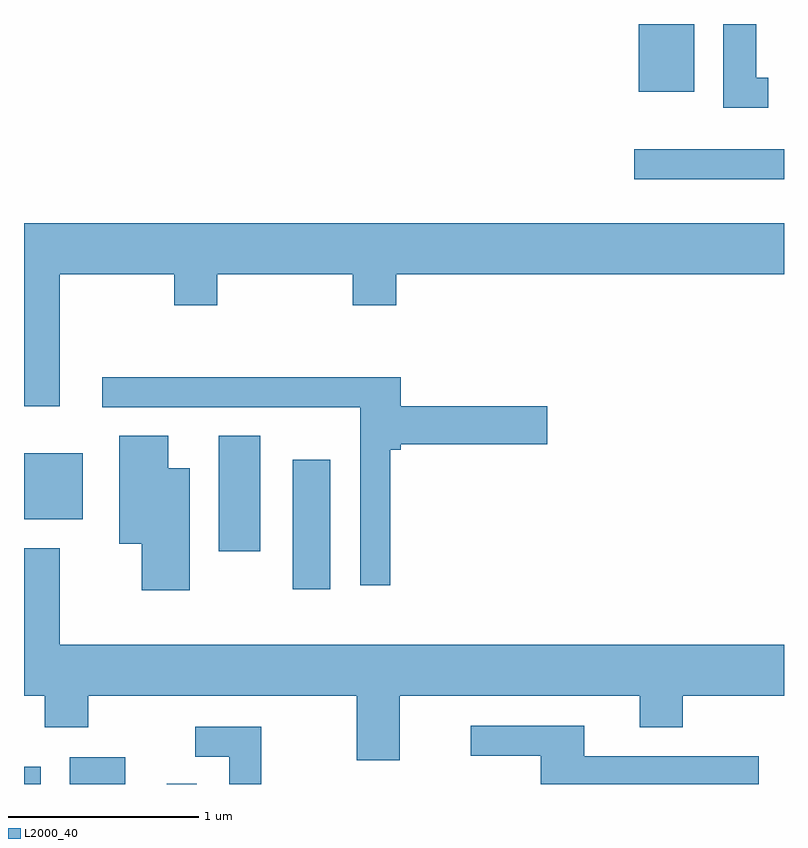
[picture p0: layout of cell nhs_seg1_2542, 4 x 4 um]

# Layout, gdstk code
import gdstk
lib = gdstk.Library(unit=1e-6, precision=1e-09)
def R(c, l, rs):  # rectangles x0, y0, x1, y1
    for r in rs: c.add(gdstk.rectangle(r[:2], r[2:], *l))
def P(c, l, *ps):  # polygons
    for p in ps: c.add(gdstk.Polygon(p, *l))
L2000_40 = (2000, 40)

nhs_seg1_2542 = lib.new_cell('nhs_seg1_2542')
R(nhs_seg1_2542, L2000_40, [(261.611,965.712,261.699,965.804), (261.851,965.712,262.144,965.854), (262.361,965.712,262.519,965.713), (263.026,966.736,263.224,967.419), (262.636,966.936,262.854,967.544), (261.611,967.106,261.919,967.454), (264.823,968.896,265.611,969.054), (264.846,969.356,265.139,969.712)])
P(nhs_seg1_2542, L2000_40, [(265.528,969.429),(265.464,969.429),(265.464,969.712),(265.291,969.712),(265.291,969.271),(265.528,969.271)],
  [(261.799,968.396),(262.401,968.396),(262.401,968.231),(262.629,968.231),(262.629,968.396),(263.341,968.396),(263.341,968.231),(263.569,968.231),(263.569,968.396),(265.611,968.396),(265.611,968.664),(261.611,968.664),(261.611,967.701),(261.799,967.701)],
  [(263.539,967.471),(263.594,967.471),(263.594,967.501),(264.364,967.501),(264.364,967.699),(263.594,967.699),(263.594,967.854),(262.022,967.854),(262.022,967.696),(263.381,967.696),(263.381,966.758),(263.539,966.758)],
  [(262.484,967.374),(262.369,967.374),(262.369,967.544),(262.111,967.544),(262.111,966.976),(262.231,966.976),(262.231,966.731),(262.484,966.731)],
  [(263.589,966.176),(264.851,966.176),(264.851,966.011),(265.079,966.011),(265.079,966.176),(265.611,966.176),(265.611,966.444),(261.799,966.444),(261.799,966.954),(261.611,966.954),(261.611,966.176),(261.721,966.176),(261.721,966.011),(261.949,966.011),(261.949,966.176),(263.361,966.176),(263.361,965.836),(263.589,965.836)],
  [(265.479,965.859),(264.559,965.859),(264.559,966.019),(263.963,966.019),(263.963,965.861),(264.331,965.861),(264.331,965.712),(265.479,965.712)],
  [(262.859,966.014),(262.513,966.014),(262.513,965.856),(262.691,965.856),(262.691,965.712),(262.859,965.712)])

lib.write_gds('nhs_seg1_2542.gds')
